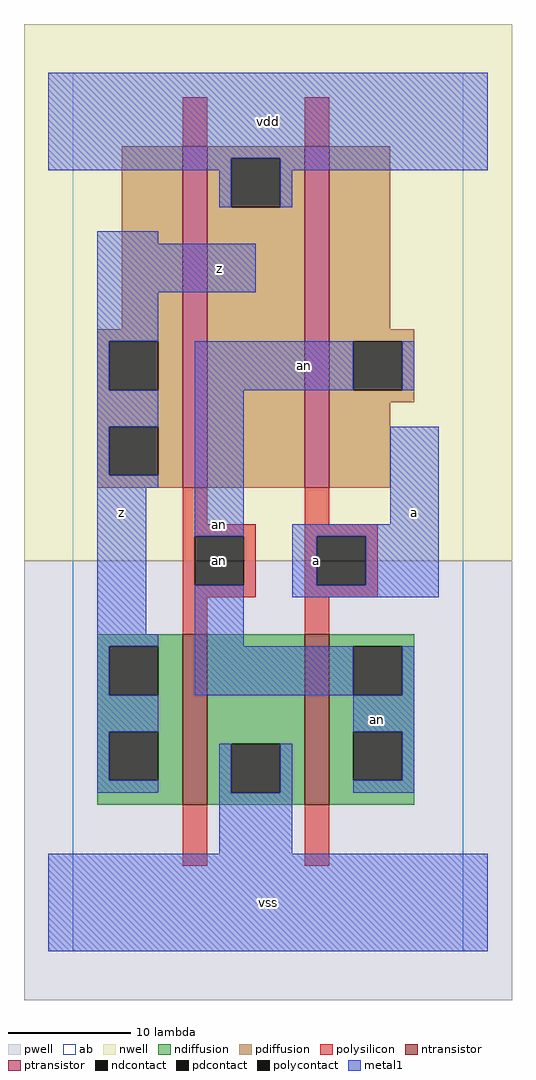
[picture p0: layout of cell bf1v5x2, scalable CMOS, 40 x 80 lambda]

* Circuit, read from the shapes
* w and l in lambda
.subckt bf1v5x2 a an vdd vss z
M1 vss an z VSUBS nfet w=14 l=2
M2 an a vss VSUBS nfet w=14 l=2
M3 vdd an z n1 pfet w=28 l=2
M4 an a vdd n1 pfet w=28 l=2
.ends

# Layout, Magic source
magic
tech scmos
<< ab >>
rect 0 0 32 72
<< pwell >>
rect -4 -4 36 32
<< nwell >>
rect -4 32 36 76
<< polysilicon >>
rect 9 66 11 70
rect 19 66 21 70
rect 9 35 11 38
rect 19 35 21 38
rect 9 34 15 35
rect 9 30 10 34
rect 14 30 15 34
rect 9 29 15 30
rect 19 34 25 35
rect 19 30 20 34
rect 24 30 25 34
rect 19 29 25 30
rect 9 26 11 29
rect 19 26 21 29
rect 9 7 11 12
rect 19 7 21 12
<< ndiffusion >>
rect 2 25 9 26
rect 2 21 3 25
rect 7 21 9 25
rect 2 18 9 21
rect 2 14 3 18
rect 7 14 9 18
rect 2 12 9 14
rect 11 17 19 26
rect 11 13 13 17
rect 17 13 19 17
rect 11 12 19 13
rect 21 25 28 26
rect 21 21 23 25
rect 27 21 28 25
rect 21 18 28 21
rect 21 14 23 18
rect 27 14 28 18
rect 21 12 28 14
<< pdiffusion >>
rect 4 51 9 66
rect 2 50 9 51
rect 2 46 3 50
rect 7 46 9 50
rect 2 43 9 46
rect 2 39 3 43
rect 7 39 9 43
rect 2 38 9 39
rect 11 65 19 66
rect 11 61 13 65
rect 17 61 19 65
rect 11 38 19 61
rect 21 51 26 66
rect 21 50 28 51
rect 21 46 23 50
rect 27 46 28 50
rect 21 45 28 46
rect 21 38 26 45
<< metal1 >>
rect -2 65 34 72
rect -2 64 13 65
rect 12 61 13 64
rect 17 64 34 65
rect 17 61 18 64
rect 2 58 7 59
rect 2 54 15 58
rect 2 50 7 54
rect 2 46 3 50
rect 2 43 7 46
rect 2 39 3 43
rect 2 38 7 39
rect 10 46 23 50
rect 27 46 28 50
rect 2 26 6 38
rect 10 34 14 46
rect 26 35 30 43
rect 2 25 7 26
rect 2 21 3 25
rect 10 25 14 30
rect 18 34 30 35
rect 18 30 20 34
rect 24 30 30 34
rect 18 29 30 30
rect 10 21 23 25
rect 27 21 28 25
rect 2 18 7 21
rect 2 14 3 18
rect 23 18 28 21
rect 2 13 7 14
rect 12 13 13 17
rect 17 13 18 17
rect 27 14 28 18
rect 23 13 28 14
rect 12 8 18 13
rect -2 0 34 8
<< ntransistor >>
rect 9 12 11 26
rect 19 12 21 26
<< ptransistor >>
rect 9 38 11 66
rect 19 38 21 66
<< polycontact >>
rect 10 30 14 34
rect 20 30 24 34
<< ndcontact >>
rect 3 21 7 25
rect 3 14 7 18
rect 13 13 17 17
rect 23 21 27 25
rect 23 14 27 18
<< pdcontact >>
rect 3 46 7 50
rect 3 39 7 43
rect 13 61 17 65
rect 23 46 27 50
<< labels >>
rlabel polycontact 12 32 12 32 6 an
rlabel metal1 4 36 4 36 6 z
rlabel metal1 12 35 12 35 6 an
rlabel metal1 12 56 12 56 6 z
rlabel metal1 16 4 16 4 6 vss
rlabel metal1 20 32 20 32 6 a
rlabel metal1 16 68 16 68 6 vdd
rlabel metal1 25 19 25 19 6 an
rlabel metal1 28 36 28 36 6 a
rlabel metal1 19 48 19 48 6 an
<< end >>
